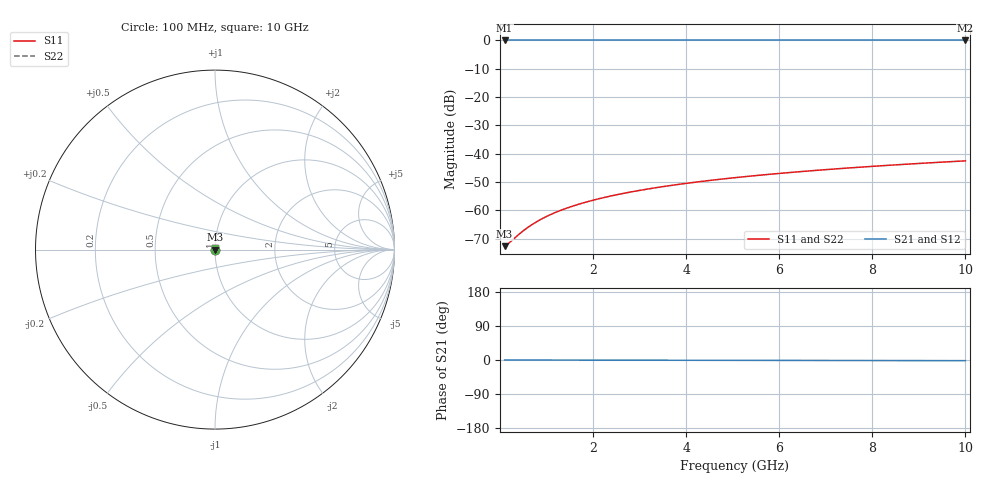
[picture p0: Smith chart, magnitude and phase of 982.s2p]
# Hz S RI R 50.00
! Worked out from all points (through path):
!   100 points, 100 MHz to 10 GHz, reference 50 ohm
!   highest |S21| = 0.00 dB at 100 MHz (marker M1); lowest = 0.0 dB at 10 GHz (marker M2)
!   lowest |S11| = -72.6 dB at 100 MHz (marker M3), VSWR 1.00, Z = 50 + j0.00749 ohm
!   |S11| at or under -10 dB: start of sweep to end of sweep
!   |S22| runs from -72.6 to -42.5 dB; largest |S21 - S12| = 1e-14
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1e8  0.000222 7.49e-05  0.9998 -0.000307  0.9998 -0.000307  0.000222 7.49e-05
2e8  0.000224 0.00015  0.9998 -0.000614  0.9998 -0.000614  0.000224 0.00015
4e8  0.000226 0.0003  0.9998 -0.00123  0.9998 -0.00123  0.000226 0.0003
5e8  0.000227 0.000375  0.9998 -0.00153  0.9998 -0.00153  0.000227 0.000375
6e8  0.000228 0.000449  0.9998 -0.00184  0.9998 -0.00184  0.000228 0.000449
7e8  0.000228 0.000524  0.9998 -0.00215  0.9998 -0.00215  0.000228 0.000524
9e8  0.00023 0.000674  0.9998 -0.00276  0.9998 -0.00276  0.00023 0.000674
1.1e9  0.000232 0.000824  0.9998 -0.00338  0.9998 -0.00338  0.000232 0.000824
1.3e9  0.000233 0.000974  0.9998 -0.00399  0.9998 -0.00399  0.000233 0.000974
1.5e9  0.000235 0.00112  0.9998 -0.0046  0.9998 -0.0046  0.000235 0.00112
1.8e9  0.000238 0.00135  0.9997 -0.00552  0.9997 -0.00552  0.000238 0.00135
2.1e9  0.000242 0.00157  0.9997 -0.00645  0.9997 -0.00645  0.000242 0.00157
2.5e9  0.000247 0.00187  0.9997 -0.00767  0.9997 -0.00767  0.000247 0.00187
2.9e9  0.000252 0.00217  0.9997 -0.0089  0.9997 -0.0089  0.000252 0.00217
3.4e9  0.000261 0.00255  0.9997 -0.0104  0.9997 -0.0104  0.000261 0.00255
4.2e9  0.000276 0.00315  0.9997 -0.0129  0.9997 -0.0129  0.000276 0.00315
5.1e9  0.000296 0.00382  0.9996 -0.0157  0.9996 -0.0157  0.000296 0.00382
5.9e9  0.000318 0.00442  0.9996 -0.0181  0.9996 -0.0181  0.000318 0.00442
6.7e9  0.000342 0.00502  0.9995 -0.0206  0.9995 -0.0206  0.000342 0.00502
7.5e9  0.00037 0.00562  0.9995 -0.0231  0.9995 -0.0231  0.00037 0.00562
8.4e9  0.000404 0.00629  0.9994 -0.0258  0.9994 -0.0258  0.000404 0.00629
1e10  0.000474 0.00749  0.9992 -0.0308  0.9992 -0.0308  0.000474 0.00749
